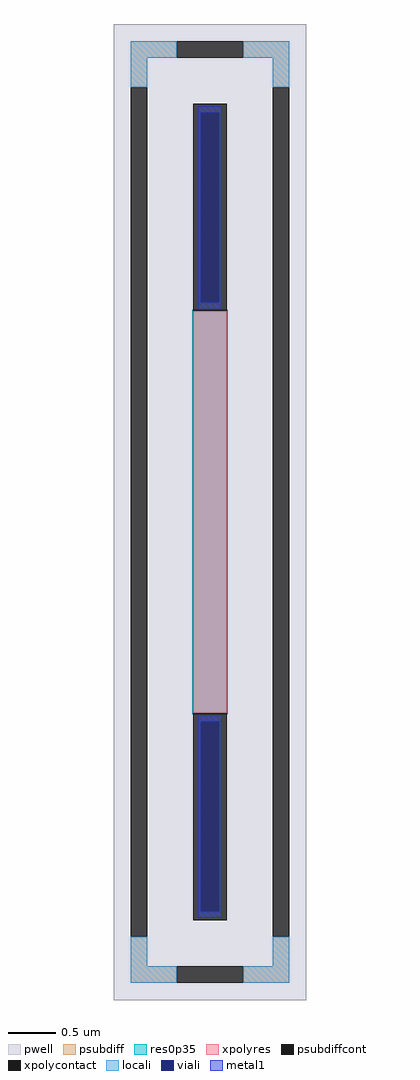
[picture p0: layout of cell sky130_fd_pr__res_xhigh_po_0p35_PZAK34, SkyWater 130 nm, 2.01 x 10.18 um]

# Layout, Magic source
magic
tech sky130A
magscale 1 2
<< pwell >>
rect -201 -1018 201 1018
<< psubdiff >>
rect -165 948 -69 982
rect 69 948 165 982
rect -165 886 -131 948
rect 131 886 165 948
rect -165 -948 -131 -886
rect 131 -948 165 -886
rect -165 -982 -69 -948
rect 69 -982 165 -948
<< psubdiffcont >>
rect -69 948 69 982
rect -165 -886 -131 886
rect 131 -886 165 886
rect -69 -982 69 -948
<< xpolycontact >>
rect -35 420 35 852
rect -35 -852 35 -420
<< xpolyres >>
rect -35 -420 35 420
<< locali >>
rect -165 948 -69 982
rect 69 948 165 982
rect -165 886 -131 948
rect 131 886 165 948
rect -165 -948 -131 -886
rect 131 -948 165 -886
rect -165 -982 -69 -948
rect 69 -982 165 -948
<< viali >>
rect -19 437 19 834
rect -19 -834 19 -437
<< metal1 >>
rect -25 834 25 846
rect -25 437 -19 834
rect 19 437 25 834
rect -25 425 25 437
rect -25 -437 25 -425
rect -25 -834 -19 -437
rect 19 -834 25 -437
rect -25 -846 25 -834
<< res0p35 >>
rect -37 -422 37 422
<< properties >>
string FIXED_BBOX -148 -965 148 965
string gencell sky130_fd_pr__res_xhigh_po_0p35
string library sky130
string parameters w 0.350 l 4.2 m 1 nx 1 wmin 0.350 lmin 0.50 rho 2000 val 25.075k dummy 0 dw 0.0 term 188.2 sterm 0.0 caplen 0 wmax 0.350 guard 1 glc 1 grc 1 gtc 1 gbc 1 compatible {sky130_fd_pr__res_xhigh_po_0p35  sky130_fd_pr__res_xhigh_po_0p69 sky130_fd_pr__res_xhigh_po_1p41  sky130_fd_pr__res_xhigh_po_2p85 sky130_fd_pr__res_xhigh_po_5p73} full_metal 1 n_guard 0 hv_guard 0 vias 1 viagb 0 viagt 0 viagl 0 viagr 0
<< end >>
